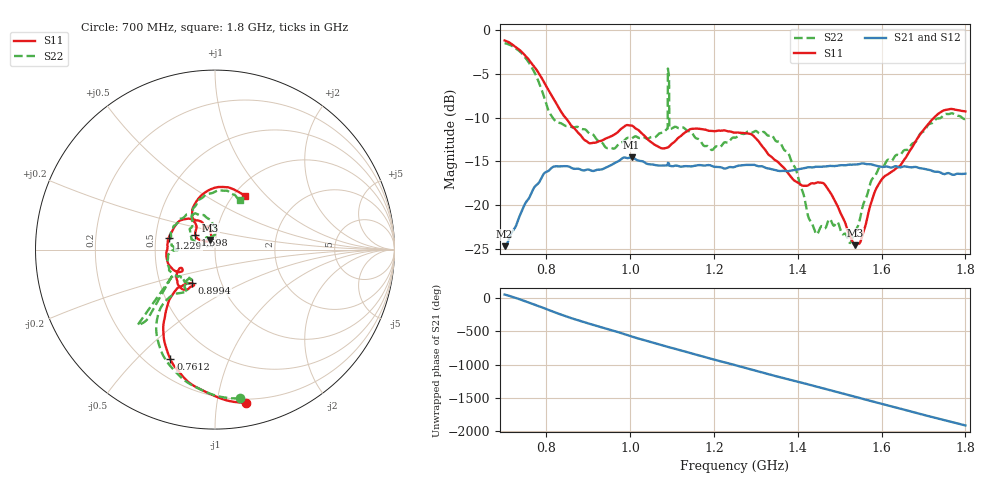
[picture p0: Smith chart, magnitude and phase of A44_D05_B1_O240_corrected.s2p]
! Created with skrf 1.9.0 (http://scikit-rf.org).
# Hz S RI R 50.0
!freq ReS11 ImS11 ReS21 ImS21 ReS12 ImS12 ReS22 ImS22
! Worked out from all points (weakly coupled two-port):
!   1601 points, 700 MHz to 1.8 GHz, reference 50 ohm
!   highest |S21| = -14.53 dB at 1.003 GHz (marker M1); lowest = -24.7 dB at 700 MHz (marker M2)
!   lowest |S11| = -24.5 dB at 1.537 GHz (marker M3), VSWR 1.13, Z = 47.2 + j5.03 ohm
!   |S11| at or under -10 dB: 845 MHz to 1.725 GHz (880.4 MHz wide, 68.5 % of centre)
!   |S22| runs from -24.3 to -1.5 dB; largest |S21 - S12| = 0.0034
!   S11 on the Smith chart (normalised r, x): 700 MHz: 0.17, -1.21; 761.2 MHz: 0.29, -0.63; 899.4 MHz: 0.72, -0.29; 1.229 GHz: 0.59, +0.08; 1.598 GHz: 0.79, +0.14; 1.8 GHz: 1.12, +0.76
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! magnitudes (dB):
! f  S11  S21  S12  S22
! 700 MHz  -1.2  -24.7  -24.4  -1.5
! 761.2 MHz  -3.6  -18.9  -18.8  -4.0
! 817.6 MHz  -7.9  -15.6  -15.7  -10.2
! 883.6 MHz  -12.1  -16.0  -15.9  -11.3
! 899.4 MHz  -12.8  -15.9  -16.0  -11.7
! 946.1 MHz  -12.3  -15.6  -15.6  -13.5
! 1.003 GHz  -10.9  -14.5  -14.6  -12.4
! 1.067 GHz  -13.3  -15.5  -15.4  -11.9
! 1.095 GHz  -13.2  -15.5  -15.5  -11.3
! 1.099 GHz  -13.0  -15.5  -15.5  -11.2
! 1.229 GHz  -11.5  -15.8  -15.7  -12.8
! 1.25 GHz  -11.7  -15.6  -15.5  -12.3
! 1.358 GHz  -15.3  -16.1  -16.0  -12.8
! 1.395 GHz  -17.3  -16.0  -15.9  -15.9
! 1.434 GHz  -17.5  -15.7  -15.6  -22.0
! 1.469 GHz  -18.0  -15.6  -15.5  -22.2
! 1.524 GHz  -23.5  -15.4  -15.4  -24.3
! 1.537 GHz  -24.5  -15.3  -15.3  -23.0
! 1.598 GHz  -17.2  -15.6  -15.6  -15.6
! 1.617 GHz  -16.4  -15.6  -15.6  -14.8
! 1.734 GHz  -9.6  -16.2  -16.2  -10.1
! 1.8 GHz  -9.3  -16.4  -16.4  -10.2
